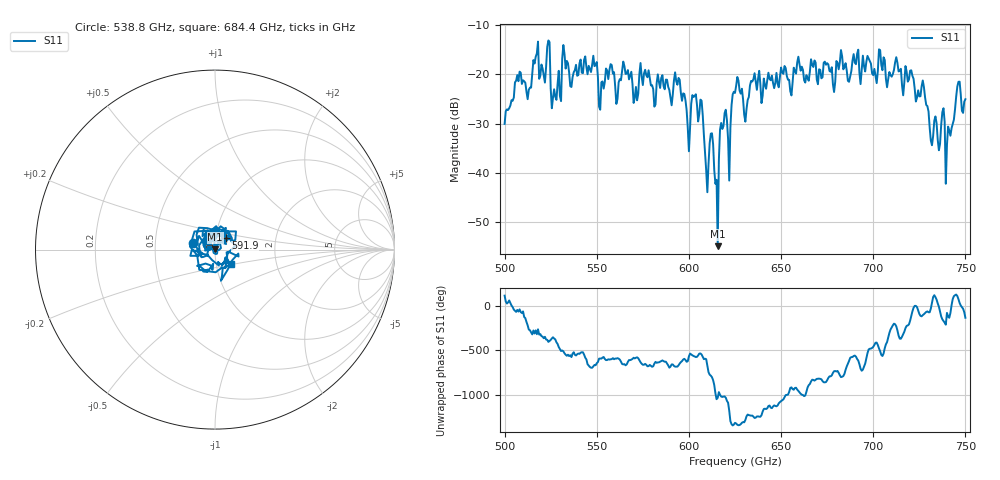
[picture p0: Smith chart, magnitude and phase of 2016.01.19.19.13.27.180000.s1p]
!Created with skrf (http://scikit-rf.org).
# GHz S RI R 50.0
!freq ReS11 ImS11
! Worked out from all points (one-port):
!   401 points, 500 GHz to 750 GHz, reference 50 ohm
!   lowest |S11| = -54.8 dB at 615.6 GHz (marker M1), VSWR 1.00, Z = 50.1 + j0.137 ohm
!   |S11| at or under -10 dB: start of sweep to end of sweep
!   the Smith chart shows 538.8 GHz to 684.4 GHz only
!   S11 on the Smith chart (normalised r, x): 538.8 GHz: 0.78, +0.06; 591.9 GHz: 1.12, +0.14; 684.4 GHz: 1.17, -0.19
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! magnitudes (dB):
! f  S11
! 500 GHz  -30.0
! 507.5 GHz  -21.4
! 513.1 GHz  -23.1
! 516.9 GHz  -16.4
! 523.8 GHz  -13.1
! 526.9 GHz  -23.0
! 531.2 GHz  -16.8
! 538.8 GHz  -18.0
! 562.5 GHz  -21.0
! 591.9 GHz  -21.2
! 593.8 GHz  -22.1
! 599.4 GHz  -30.8
! 606.9 GHz  -25.3
! 609.4 GHz  -39.5
! 612.5 GHz  -31.9
! 615.6 GHz  -54.8
! 618.1 GHz  -31.1
! 621.9 GHz  -41.5
! 625 GHz  -23.7
! 630.6 GHz  -29.6
! 635 GHz  -20.9
! 656.2 GHz  -21.6
! 684.4 GHz  -18.5
! 687.5 GHz  -20.4
! 718.8 GHz  -21.5
! 740.6 GHz  -30.6
! 746.2 GHz  -21.5
! 750 GHz  -25.0
